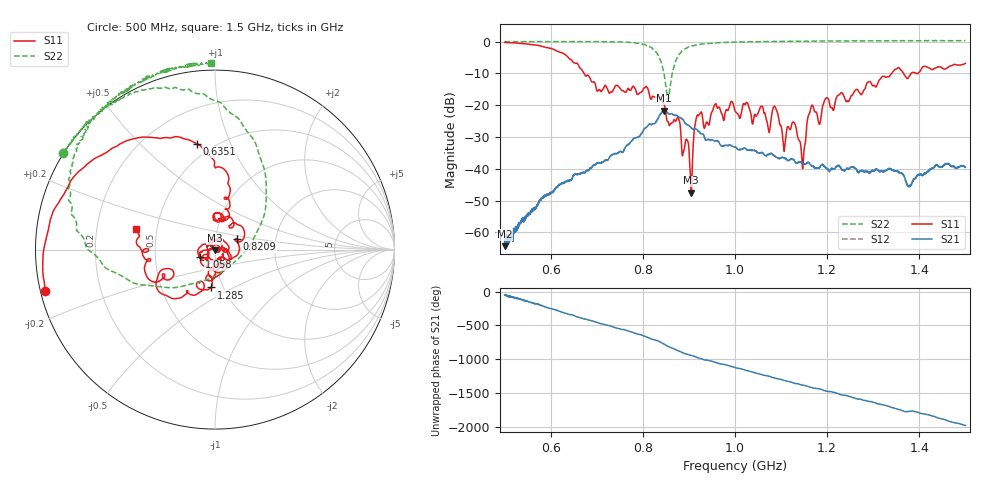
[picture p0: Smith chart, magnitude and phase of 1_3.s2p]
!Keysight Technologies,N5242B,MY48420860,A.13.80.08
!Date: Saturday, September 26, 2020 12:37:31
!Correction: S11(Full 2 Port(1,2))
!S21(Full 2 Port(1,2))
!S12(Full 2 Port(1,2))
!S22(Full 2 Port(1,2))
!S2P File: Measurements: S11, S21, S12, S22:
# Hz S  dB  R 50
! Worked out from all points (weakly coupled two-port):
!   2650 points, 500 MHz to 1.5 GHz, reference 50 ohm
!   highest |S21| = -21.74 dB at 845.4 MHz (marker M1); lowest = -64.4 dB at 500.8 MHz (marker M2)
!   lowest |S11| = -47.6 dB at 905.1 MHz (marker M3), VSWR 1.01, Z = 49.9 - j0.413 ohm
!   |S11| at or under -10 dB: 672.5 MHz to 1.34 GHz (667.4 MHz wide, 66.3 % of centre); 1.366 GHz to 1.382 GHz (16.48 MHz wide, 1.2 % of centre); 1.393926 GHz to 1.397347 GHz (3.421 MHz wide, 0.245 % of centre)
!   |S22| runs from -18.3 to 0.4 dB; largest |S21 - S12| = 0.00046
!   S11 on the Smith chart (normalised r, x): 500 MHz: 0.01, -0.12; 635.1 MHz: 0.41, +0.76; 820.9 MHz: 1.27, +0.15; 1.058 GHz: 0.84, -0.07; 1.285 GHz: 0.88, -0.39; 1.5 GHz: 0.38, +0.11
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5e8  -0.23 -166.2  -64.32 -52.8  -63.25 -45.5  0.03 147.6
5.00755e8  -0.24 -166.6  -64.38 -47.3  -63.84 -51.2  0.03 147.6
6.351453e8  -4.47 99.5  -43.85 34.7  -43.92 33.5  0.03 136.3
6.668554e8  -8.71 77.8  -41.42 -31.3  -41.46 -31.1  -0.00 132.8
8.208758e8  -17.26 25.8  -25.93 15.8  -25.94 15.8  -2.19 84.7
8.337108e8  -17.28 5.5  -23.97 -10.3  -24.01 -10.5  -4.37 66.9
8.454134e8  -19.51 -29.0  -21.74 -54.9  -21.77 -55.1  -9.59 34.6
8.552284e8  -25.35 -36.6  -22.63 -89.8  -22.64 -90.0  -18.06 -65.5
8.661759e8  -25.12 -34.3  -23.02 -121.8  -23.05 -121.9  -8.62 -146.2
9.050585e8  -47.57 -98.4  -27.11 136.5  -27.14 136.3  -1.34 161.6
9.212911e8  -23.29 38.3  -28.28 101.2  -28.26 101.0  -0.86 154.1
1.000189e9  -21.82 -112.6  -33.16 -40.1  -33.17 -40.0  -0.12 136.1
1.057946e9  -20.33 -153.2  -34.86 -143.8  -34.91 -144.1  -0.02 128.6
1.073046e9  -28.21 -168.2  -35.45 -167.4  -35.50 -167.4  0.00 126.9
1.088146e9  -20.87 175.3  -36.27 160.3  -36.18 159.9  0.06 125.6
1.106644e9  -34.53 163.3  -36.57 128.8  -36.66 129.3  0.12 124.0
1.128162e9  -25.42 75.2  -37.22 89.3  -37.25 89.3  0.13 122.1
1.147037e9  -39.80 -14.2  -38.29 60.1  -38.38 59.9  0.20 120.2
1.166667e9  -20.08 -41.7  -39.19 23.3  -39.19 23.9  0.12 118.3
1.285202e9  -13.46 -96.1  -40.85 -170.4  -40.89 -171.0  0.27 109.0
1.333522e9  -11.05 -124.1  -40.02 107.8  -40.00 108.1  0.33 105.0
1.5e9  -6.83 165.6  -39.55 -174.0  -39.56 -173.1  0.33 91.3
